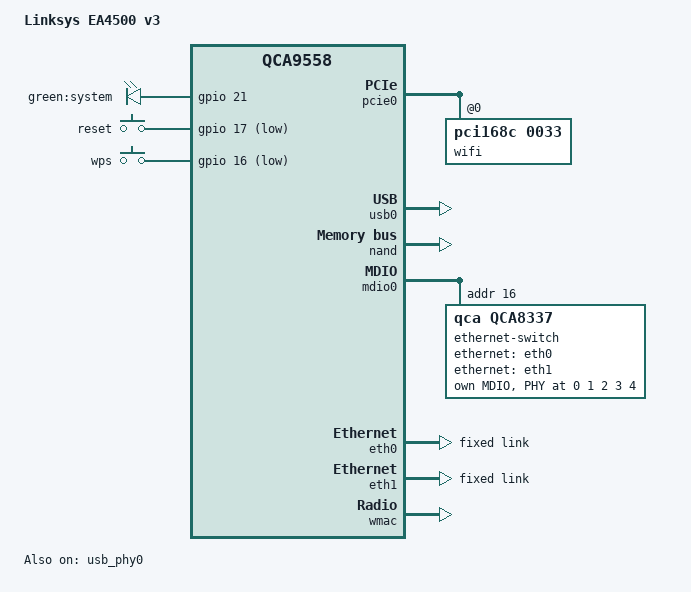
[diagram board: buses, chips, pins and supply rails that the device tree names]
// SPDX-License-Identifier: GPL-2.0-or-later OR MIT

#include "qca955x.dtsi"
#include "qca955x_ag71xx.dtsi"

#include <dt-bindings/gpio/gpio.h>
#include <dt-bindings/input/input.h>
#include <dt-bindings/leds/common.h>

/ {
	compatible = "linksys,ea4500-v3", "qca,qca9558";
	model = "Linksys EA4500 v3";

	aliases {
		led-boot = &led_system;
		led-failsafe = &led_system;
		led-running = &led_system;
		led-upgrade = &led_system;
		label-mac-device = &eth1;
	};

	leds {
		compatible = "gpio-leds";

		led_system: system {
			label = "green:system";
			gpios = <&gpio 21 GPIO_ACTIVE_HIGH>;
			default-state = "on";
		};
	};

	keys {
		compatible = "gpio-keys";

		reset {
			label = "reset";
			linux,code = <KEY_RESTART>;
			gpios = <&gpio 17 GPIO_ACTIVE_LOW>;
			debounce-interval = <60>;
		};

		wps {
			label = "wps";
			linux,code = <KEY_WPS_BUTTON>;
			gpios = <&gpio 16 GPIO_ACTIVE_LOW>;
			debounce-interval = <60>;
		};
	};
};

&pcie0 {
	status = "okay";

	wifi@0,0 {
		compatible = "pci168c,0033";
		reg = <0x0000 0 0 0 0>;
		nvmem-cells = <&cal_ath9k_pci>;
		nvmem-cell-names = "calibration";
	};
};

&usb_phy0 {
	status = "okay";
};

&usb0 {
	status = "okay";
};

&nand {
	status = "okay";

	partitions {
		compatible = "fixed-partitions";

		#address-cells = <1>;
		#size-cells = <1>;

		partition@0 {
			label = "uboot";
			reg = <0x0 0x100000>;
			read-only;
		};

		partition@100000 {
			label = "u_env";
			reg = <0x100000 0x40000>;
		};

		partition@140000 {
			label = "caldata";
			reg = <0x140000 0x40000>;
			read-only;

			nvmem-layout {
				compatible = "fixed-layout";
				#address-cells = <1>;
				#size-cells = <1>;

				cal_macaddr: macaddr@0 {
					reg = <0x6 0x6>;
				};

				cal_ath9k_soc: cal_ath9k@1000 {
					reg = <0x1000 0x440>;
				};

				cal_ath9k_pci: cal_ath9k@5000 {
					reg = <0x5000 0x440>;
				};
			};
		};

		partition@180000 {
			label = "s_env";
			reg = <0x180000 0x40000>;
			read-only;
		};

		partition@1c0000 {
			label = "devinfo";
			reg = <0x1c0000 0x100000>;
			read-only;
		};

		partition@2c0000 {
			label = "firmware";
			reg = <0x2c0000 0x7d40000>;

			compatible = "fixed-partitions";
			#address-cells = <1>;
			#size-cells = <1>;

			partition@0 {
				label = "kernel";
				reg = <0x0 0x400000>;
			};

			partition@400000 {
				label = "ubi";
				reg = <0x400000 0x7940000>;
			};

			/* Original layout for secondary partitions */
			/* partition@2800000 {
				label = "kernel2";
				reg = <0x2800000 0x400000>;
			};

			partition@2c00000 {
				label = "ubi2";
				reg = <0x2c00000 0x2400000>;
			}; */
		};

		/* Original layout for user data partition */
		/* partition@52c0000 {
			label = "syscfg";
			reg = <0x52c0000 0x2d40000>;
		}; */
	};
};

&mdio0 {
	status = "okay";

	ethernet-switch@10 {
		compatible = "qca,qca8337";
		#address-cells = <1>;
		#size-cells = <0>;
		reg = <0x10>;

		ethernet-ports {
			#address-cells = <1>;
			#size-cells = <0>;

			ethernet-port@0 {
				reg = <0>;
				ethernet = <&eth0>;
				phy-mode = "rgmii-id";

				fixed-link {
					speed = <1000>;
					full-duplex;
				};
			};

			ethernet-port@1 {
				reg = <1>;
				label = "lan1";
				phy-mode = "internal";
				phy-handle = <&phy_port1>;

				leds {
					#address-cells = <1>;
					#size-cells = <0>;

					led@0 {
						reg = <0>;
						color = <LED_COLOR_ID_ORANGE>;
						function = LED_FUNCTION_ACTIVITY;
						default-state = "keep";
					};

					led@1 {
						reg = <1>;
						color = <LED_COLOR_ID_GREEN>;
						function = LED_FUNCTION_LAN;
						default-state = "keep";
					};
				};
			};

			ethernet-port@2 {
				reg = <2>;
				label = "lan2";
				phy-mode = "internal";
				phy-handle = <&phy_port2>;

				leds {
					#address-cells = <1>;
					#size-cells = <0>;

					led@0 {
						reg = <0>;
						color = <LED_COLOR_ID_ORANGE>;
						function = LED_FUNCTION_ACTIVITY;
						default-state = "keep";
					};

					led@1 {
						reg = <1>;
						color = <LED_COLOR_ID_GREEN>;
						function = LED_FUNCTION_LAN;
						default-state = "keep";
					};
				};
			};

			ethernet-port@3 {
				reg = <3>;
				label = "lan3";
				phy-mode = "internal";
				phy-handle = <&phy_port3>;

				leds {
					#address-cells = <1>;
					#size-cells = <0>;

					led@0 {
						reg = <0>;
						color = <LED_COLOR_ID_ORANGE>;
						function = LED_FUNCTION_ACTIVITY;
						default-state = "keep";
					};

					led@1 {
						reg = <1>;
						color = <LED_COLOR_ID_GREEN>;
						function = LED_FUNCTION_LAN;
						default-state = "keep";
					};
				};
			};

			ethernet-port@4 {
				reg = <4>;
				label = "lan4";
				phy-mode = "internal";
				phy-handle = <&phy_port4>;

				leds {
					#address-cells = <1>;
					#size-cells = <0>;

					led@0 {
						reg = <0>;
						color = <LED_COLOR_ID_ORANGE>;
						function = LED_FUNCTION_ACTIVITY;
						default-state = "keep";
					};

					led@1 {
						reg = <1>;
						color = <LED_COLOR_ID_GREEN>;
						function = LED_FUNCTION_LAN;
						default-state = "keep";
					};
				};
			};

			ethernet-port@5 {
				reg = <5>;
				label = "wan";
				phy-mode = "internal";
				phy-handle = <&phy_port5>;

				leds {
					#address-cells = <1>;
					#size-cells = <0>;

					led@0 {
						reg = <0>;
						color = <LED_COLOR_ID_ORANGE>;
						function = LED_FUNCTION_ACTIVITY;
						default-state = "keep";
					};

					led@1 {
						reg = <1>;
						color = <LED_COLOR_ID_GREEN>;
						function = LED_FUNCTION_WAN;
						default-state = "keep";
					};
				};
			};

			ethernet-port@6 {
				reg = <6>;
				ethernet = <&eth1>;
				phy-mode = "sgmii";

				fixed-link {
					speed = <1000>;
					full-duplex;
				};
			};
		};

		mdio {
			#address-cells = <1>;
			#size-cells = <0>;

			phy_port1: ethernet-phy@0 {
				reg = <0>;
			};

			phy_port2: ethernet-phy@1 {
				reg = <1>;
			};

			phy_port3: ethernet-phy@2 {
				reg = <2>;
			};

			phy_port4: ethernet-phy@3 {
				reg = <3>;
			};

			phy_port5: ethernet-phy@4 {
				reg = <4>;
			};
		};
	};
};

&eth0 {
	status = "okay";

	qca,gmac = <&gmac>;
	qca,pll = <&pll>;
	rx-internal-delay-ps = <900>;
	tx-internal-delay-ps = <800>;
	qca,tx-clk-invert;

	nvmem-cells = <&cal_macaddr>;
	nvmem-cell-names = "mac-address";

	fixed-link {
		speed = <1000>;
		full-duplex;
	};
};

&eth1 {
	status = "okay";

	nvmem-cells = <&cal_macaddr>;
	nvmem-cell-names = "mac-address";
	pll-data = <0x03000101 0x00000101 0x00001616>;

	fixed-link {
		speed = <1000>;
		full-duplex;
	};
};

&wmac {
	status = "okay";

	nvmem-cells = <&cal_ath9k_soc>;
	nvmem-cell-names = "calibration";
};
